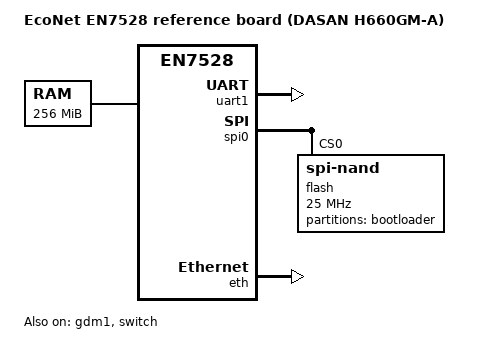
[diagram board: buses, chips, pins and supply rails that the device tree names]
// SPDX-License-Identifier: GPL-2.0+
/*
 * EcoNet EN7528 reference board (DASAN H660GM-A).
 *
 * This board reuses the EN7528 SoC support - econet,en7528.dtsi and the
 * mach-en75xx port - originally written by
 * Matheus Sampaio Queiroga <srherobrine20@gmail.com> in the en7523_u-boot
 * tree.  Like the TP-Link XC220-G3V target it is chainloaded after a prior
 * stage has trained DDR; it differs only in the flash (SPI-NAND) wiring.
 */
/dts-v1/;

#include "econet,en7528.dtsi"

/ {
	model = "EcoNet EN7528 reference board (DASAN H660GM-A)";
	compatible = "econet,en7528-reference", "econet,en7528";

	memory@0 {
		device_type = "memory";
		reg = <0x00000000 0x10000000>;
	};

	chosen {
		stdout-path = "serial0:115200n8";
	};
};

&uart1 {
	status = "okay";
};

&spi0 {
	status = "okay";

	flash@0 {
		compatible = "spi-nand";
		reg = <0>;
		spi-max-frequency = <25000000>;
		spi-tx-bus-width = <1>;
		spi-rx-bus-width = <1>;

		partitions {
			compatible = "fixed-partitions";
			#address-cells = <1>;
			#size-cells = <1>;

			/*
			 * Only the boot region is described here.  The vendor
			 * tclinux dual-image layout (kernel/rootfs slots and the
			 * user UBI) starts at 0x40000 and can be added as needed.
			 */
			partition@0 {
				label = "bootloader";
				reg = <0x00000000 0x00040000>;
				read-only;
			};
		};
	};
};

&eth {
	status = "okay";
};

&gdm1 {
	status = "okay";
};

&switch {
	status = "okay";
};
